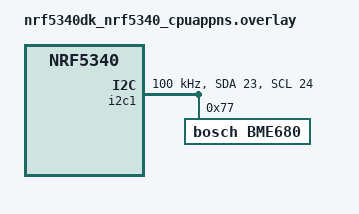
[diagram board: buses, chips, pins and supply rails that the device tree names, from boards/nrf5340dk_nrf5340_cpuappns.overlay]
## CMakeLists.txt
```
#
# Copyright (c) 2019 Nordic Semiconductor
#
# SPDX-License-Identifier: LicenseRef-Nordic-5-Clause
#

cmake_minimum_required(VERSION 3.13.1)

find_package(Zephyr REQUIRED HINTS $ENV{ZEPHYR_BASE})
project("BLE smart mask")

# Include application event headers
zephyr_library_include_directories(src/events)
zephyr_library_include_directories(src/modules)
zephyr_library_include_directories(configuration)

# Application sources
# NORDIC SDK APP START
target_sources(app PRIVATE src/main.c)

target_sources(app PRIVATE
		src/events/config_event.c
		src/events/sensor_packet_event.c
		src/events/bme680_measurement_event.c
		src/events/trigger_measurement_event.c
)

target_sources(app PRIVATE
		src/modules/bme680.c
		src/modules/sensor.c
#		src/modules/ble_bond.c # something is broken in ble_bond.c, stops advertising from starting
#		src/modules/settings_loader.c
)
# NORDIC SDK APP END
zephyr_library_include_directories(.)
```

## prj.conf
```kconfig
# Application Configuration

# CAF
CONFIG_CAF=y
#CONFIG_CAF_PM_EVENTS=y

CONFIG_CAF_LEDS=y
CONFIG_CAF_LEDS_PM_EVENTS=y

CONFIG_CAF_BLE_STATE=y
#CONFIG_CAF_BLE_BOND_SUPPORTED=y

CONFIG_CAF_BLE_ADV=y
CONFIG_CAF_BLE_ADV_DEF_PATH="C:/ble_smart_mask/ble_smart_mask_app/configuration/ble_adv_def.h"
#CONFIG_CAF_BLE_ADV_PM_EVENTS=y
CONFIG_CAF_BLE_ADV_DIRECT_ADV=n
CONFIG_CAF_BLE_ADV_FAST_ADV=n

# CAF debug
CONFIG_CAF_BLE_ADV_LOG_LEVEL_DBG=y
CONFIG_CAF_BLE_STATE_LOG_LEVEL_DBG=y

# CONFIG_GPIO=y
CONFIG_HWINFO=y

# Bluetooth general settings 
CONFIG_BT=y
CONFIG_BT_DIS=y # device information service
CONFIG_BT_DIS_PNP=n # plug n play, no idea if needed
CONFIG_BT_BAS=y # battery service
CONFIG_BT_HRS=y # heartrate service
CONFIG_BT_SMP=y
CONFIG_BT_MAX_CONN=1
CONFIG_BT_MAX_PAIRED=1

# Bluetooth appearance
CONFIG_BT_PERIPHERAL=y
CONFIG_BT_DEVICE_NAME="Smart Mask"
CONFIG_BT_DEVICE_APPEARANCE=833

# Enable the BMS service
#CONFIG_BT_BMS=y

# Enable bonding
CONFIG_BT_SETTINGS=y
CONFIG_FLASH=y
CONFIG_FLASH_PAGE_LAYOUT=y
CONFIG_FLASH_MAP=y
CONFIG_NVS=y
#advertising fails with ERR -11 when SETTINGS is enabled
#CONFIG_SETTINGS=y 

# not sure if needed
#CONFIG_BT_HCI_RAW=y

# FCB storage backend needed?
#CONFIG_FCB=y
#CONFIG_SETTINGS_FCB=y

CONFIG_BT_KEYS_OVERWRITE_OLDEST=n
CONFIG_BT_KEYS_SAVE_AGING_COUNTER_ON_PAIRING=y

# not sure if needed?
#CONFIG_ENTROPY_CC3XX=n 

# Configuration required by Event Manager
CONFIG_EVENT_MANAGER=y
CONFIG_LINKER_ORPHAN_SECTION_PLACE=y
CONFIG_HEAP_MEM_POOL_SIZE=4096
CONFIG_REBOOT=y

CONFIG_ASSERT=y

# Logger configuration
CONFIG_LOG=y
CONFIG_LOG_DEFAULT_LEVEL=4
CONFIG_LOG_BACKEND_UART=y
CONFIG_LOG_STRDUP_BUF_COUNT=10
CONFIG_BOOT_BANNER=n

# I2C
CONFIG_I2C=y
CONFIG_I2C_1=y

# Configuration required by BME680
CONFIG_SENSOR=y
CONFIG_BME680=y
```

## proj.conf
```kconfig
#
# Copyright (c) 2019 Nordic Semiconductor ASA
#
# SPDX-License-Identifier: LicenseRef-Nordic-5-Clause
#
################################################################################
# Application Configuration

#CONFIG_DESKTOP_INIT_LOG_MOTION_EVENT=n
#CONFIG_DESKTOP_INIT_LOG_HID_REPORT_EVENT=n
#CONFIG_DESKTOP_INIT_LOG_HID_REPORT_SENT_EVENT=n

#CONFIG_DESKTOP_HID_REPORT_DESC="configuration/common/hid_report_desc.c"

#CONFIG_DESKTOP_HID_MOUSE=y
#CONFIG_DESKTOP_HID_STATE_ENABLE=y

#CONFIG_DESKTOP_MOTION_BUTTONS_ENABLE=y
#CONFIG_DESKTOP_MOTION_UP_KEY_ID=0
#CONFIG_DESKTOP_MOTION_DOWN_KEY_ID=3
#CONFIG_DESKTOP_MOTION_LEFT_KEY_ID=2
#CONFIG_DESKTOP_MOTION_RIGHT_KEY_ID=1

CONFIG_CAF=y
#CONFIG_CAF_PM_EVENTS=y

CONFIG_CAF_BUTTONS=y
CONFIG_CAF_BUTTONS_PM_EVENTS=y
CONFIG_CAF_BUTTONS_POLARITY_INVERSED=y

CONFIG_CAF_LEDS=y
CONFIG_CAF_LEDS_PM_EVENTS=y

CONFIG_CAF_BLE_STATE=y
CONFIG_CAF_BLE_BOND_SUPPORTED=y

CONFIG_CAF_BLE_ADV=y
CONFIG_CAF_BLE_ADV_PM_EVENTS=y
CONFIG_CAF_BLE_ADV_DIRECT_ADV=n
CONFIG_CAF_BLE_ADV_FAST_ADV=y
CONFIG_CAF_BLE_ADV_SWIFT_PAIR=y

#CONFIG_DESKTOP_USB_ENABLE=y

#CONFIG_DESKTOP_POWER_MANAGER_ENABLE=y

#CONFIG_DESKTOP_BLE_USE_DEFAULT_ID=y

#CONFIG_DESKTOP_BLE_SECURITY_FAIL_TIMEOUT_S=10
#CONFIG_DESKTOP_BLE_LOW_LATENCY_LOCK=y

#CONFIG_DESKTOP_CONFIG_CHANNEL_ENABLE=y

#CONFIG_DESKTOP_HFCLK_LOCK_ENABLE=y

################################################################################
# Zephyr Configuration

#CONFIG_SYSTEM_WORKQUEUE_STACK_SIZE=1536
#CONFIG_ISR_STACK_SIZE=1536
#CONFIG_MAIN_STACK_SIZE=768
#CONFIG_IDLE_STACK_SIZE=512
#CONFIG_BT_RX_STACK_SIZE=2048
#CONFIG_BT_HCI_TX_STACK_SIZE_WITH_PROMPT=y
#CONFIG_BT_HCI_TX_STACK_SIZE=1536

#CONFIG_BOOT_BANNER=n

#CONFIG_NUM_COOP_PRIORITIES=10
#CONFIG_NUM_PREEMPT_PRIORITIES=11

#CONFIG_HEAP_MEM_POOL_SIZE=512

#CONFIG_SYS_CLOCK_TICKS_PER_SEC=1000
#CONFIG_SYSTEM_CLOCK_NO_WAIT=y

#CONFIG_PM_POLICY_APP=y

#CONFIG_HW_STACK_PROTECTION=y
#CONFIG_RESET_ON_FATAL_ERROR=n

#CONFIG_GPIO=y

#CONFIG_SERIAL=n
#CONFIG_CONSOLE=n
#CONFIG_UART_CONSOLE=n

#CONFIG_HWINFO=y

#CONFIG_FLASH=y
#CONFIG_FLASH_PAGE_LAYOUT=y
#CONFIG_FLASH_MAP=y
#CONFIG_FCB=y

#CONFIG_SETTINGS=y
#CONFIG_SETTINGS_FCB=y

#CONFIG_REBOOT=y

#CONFIG_SPEED_OPTIMIZATIONS=y

#CONFIG_PWM=y

#CONFIG_LED=y
#CONFIG_LED_PWM=y

#CONFIG_USB=y
#CONFIG_USB_NRFX=y
#CONFIG_USB_DEVICE_STACK=y
#CONFIG_USB_DEVICE_MANUFACTURER="Nordic Semiconductor ASA"
#CONFIG_USB_DEVICE_PRODUCT="Mouse nRF52 Desktop"
#CONFIG_USB_DEVICE_VID=0x1915
#CONFIG_USB_DEVICE_PID=0x52DE
#CONFIG_USB_DEVICE_REMOTE_WAKEUP=y
#CONFIG_USB_DEVICE_HID=y
#CONFIG_USB_DEVICE_LOG_LEVEL_OFF=y
#CONFIG_USB_DRIVER_LOG_LEVEL_OFF=y
#CONFIG_USB_HID_POLL_INTERVAL_MS=1


CONFIG_BT=y
CONFIG_BT_SETTINGS=y
CONFIG_BT_SMP=y
#CONFIG_BT_SIGNING=y
#CONFIG_BT_MAX_PAIRED=2
#CONFIG_BT_ID_MAX=3
#CONFIG_BT_LL_SOFTDEVICE=y

# Bluetooth appearance
CONFIG_BT_DEVICE_NAME="Smart Mask"
CONFIG_BT_DEVICE_APPEARANCE=832

CONFIG_BT_CTLR=y
CONFIG_BT_CTLR_CONN_PARAM_REQ=n
#CONFIG_BT_CTLR_LLPM=y
CONFIG_BT_CTLR_TX_PWR_0=y
CONFIG_BT_CTLR_TX_PWR_DYNAMIC_CONTROL=y
CONFIG_BT_CONN_TX_MAX=4

#CONFIG_BT_DATA_LEN_UPDATE=n
#CONFIG_BT_AUTO_PHY_UPDATE=n

CONFIG_BT_PERIPHERAL=y
#CONFIG_BT_PERIPHERAL_PREF_MIN_INT=6
#CONFIG_BT_PERIPHERAL_PREF_MAX_INT=6
#CONFIG_BT_PERIPHERAL_PREF_SLAVE_LATENCY=99
#CONFIG_BT_PERIPHERAL_PREF_TIMEOUT=400

#CONFIG_BT_CONN_PARAM_UPDATE_TIMEOUT=1000

#CONFIG_BT_WHITELIST=y

#CONFIG_BT_GATT_UUID16_POOL_SIZE=27
#CONFIG_BT_GATT_CHRC_POOL_SIZE=7
#CONFIG_BT_SETTINGS_CCC_STORE_ON_WRITE=y
#CONFIG_BT_SETTINGS_CCC_LAZY_LOADING=n

# CONFIG_BT_DIS=y
# CONFIG_BT_DIS_MANUF="Nordic Semiconductor ASA"
# CONFIG_BT_DIS_MODEL="Mouse nRF52 Desktop"
# CONFIG_BT_DIS_PNP=y
# CONFIG_BT_DIS_PNP_VID_SRC=2
# CONFIG_BT_DIS_PNP_VID=0x1915
# CONFIG_BT_DIS_PNP_PID=0x52DE
# CONFIG_BT_DIS_PNP_VER=0x0100

# CONFIG_BT_HIDS_INPUT_REP_MAX=1
# CONFIG_BT_HIDS_OUTPUT_REP_MAX=0
# CONFIG_BT_HIDS_FEATURE_REP_MAX=1
# CONFIG_BT_HIDS_ATTR_MAX=19
# CONFIG_BT_HIDS_DEFAULT_PERM_RW_ENCRYPT=y
# CONFIG_BT_CONN_CTX=y

CONFIG_ENTROPY_CC3XX=n

CONFIG_EVENT_MANAGER=y
CONFIG_LINKER_ORPHAN_SECTION_PLACE=y

################################################################################

CONFIG_ASSERT=y
#CONFIG_ASSERT_LEVEL=2

# Logger configuration
CONFIG_LOG=y
CONFIG_LOG_DEFAULT_LEVEL=4
CONFIG_LOG_BACKEND_UART=y
CONFIG_LOG_STRDUP_BUF_COUNT=10

# CONFIG_LOG=y
# CONFIG_LOG_DEFAULT_LEVEL=2
# CONFIG_LOG_BACKEND_RTT=y
# CONFIG_LOG_BACKEND_RTT_MODE_DROP=y
# CONFIG_LOG_MODE_OVERFLOW=y
# CONFIG_LOG_PRINTK=y
# CONFIG_LOG_PRINTK_MAX_STRING_LENGTH=256
# CONFIG_LOG_BUFFER_SIZE=4096
# CONFIG_LOG_BACKEND_RTT_MESSAGE_SIZE=256
# CONFIG_LOG_STRDUP_BUF_COUNT=64
# CONFIG_LOG_STRDUP_MAX_STRING=64
# CONFIG_LOG_BACKEND_SHOW_COLOR=n
# CONFIG_LOG_BACKEND_FORMAT_TIMESTAMP=n
# CONFIG_LOG_PROCESS_THREAD_STACK_SIZE=1024

#CONFIG_CONSOLE=y
#CONFIG_USE_SEGGER_RTT=y
#CONFIG_SEGGER_RTT_BUFFER_SIZE_UP=4096
#CONFIG_RTT_CONSOLE=y
#CONFIG_UART_CONSOLE=n

# I2C
CONFIG_I2C=y
CONFIG_I2C_1=y

# Configuration required by BME680
CONFIG_SENSOR=y
CONFIG_BME680=y
```

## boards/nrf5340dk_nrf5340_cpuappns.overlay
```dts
/*
 * Copyright (c) 2020, Nordic Semiconductor ASA
 *
 * SPDX-License-Identifier: Apache-2.0
 */

&i2c1 {
	compatible = "nordic,nrf-twim";
	status = "okay";
	sda-pin = < 23 >; //P0.23
	scl-pin = < 24 >; //P0.24
    clock-frequency = <I2C_BITRATE_STANDARD>; 
	
	bme680@76 {
		compatible = "bosch,bme680";
		reg = <0x77>;
		label = "BME680";
	};
};
```

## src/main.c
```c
/*
 * Copyright (c) 2019 Nordic Semiconductor ASA
 *
 * SPDX-License-Identifier: LicenseRef-Nordic-5-Clause
 */

#include <event_manager.h>
#include <config_event.h>

#include <bluetooth/bluetooth.h>
#include <bluetooth/hci.h>
#include <bluetooth/conn.h>
#include <bluetooth/uuid.h>
#include <bluetooth/gatt.h>
#include <bluetooth/services/bas.h>

#define MODULE main
#include <caf/events/module_state_event.h>

#include <logging/log.h>
LOG_MODULE_REGISTER(MODULE);

#define INIT_VALUE1 3

static void bas_notify(void)
{
	uint8_t battery_level = bt_bas_get_battery_level();

	battery_level--;

	if (!battery_level) {
		battery_level = 100U;
	}

	bt_bas_set_battery_level(battery_level);
}

void main(void)
{
	if (event_manager_init()) {
		LOG_ERR("Event Manager not initialized");
	} 

        else 
        {
		struct config_event *event = new_config_event();
		event->init_value1 = INIT_VALUE1;
		EVENT_SUBMIT(event);
                
                /* Let CAF know main module is ready */
                module_set_state(MODULE_STATE_READY);
	}

        while(1)
        {
          	k_sleep(K_SECONDS(1));

		/* Battery level simulation */
		bas_notify();
        }
}
```
